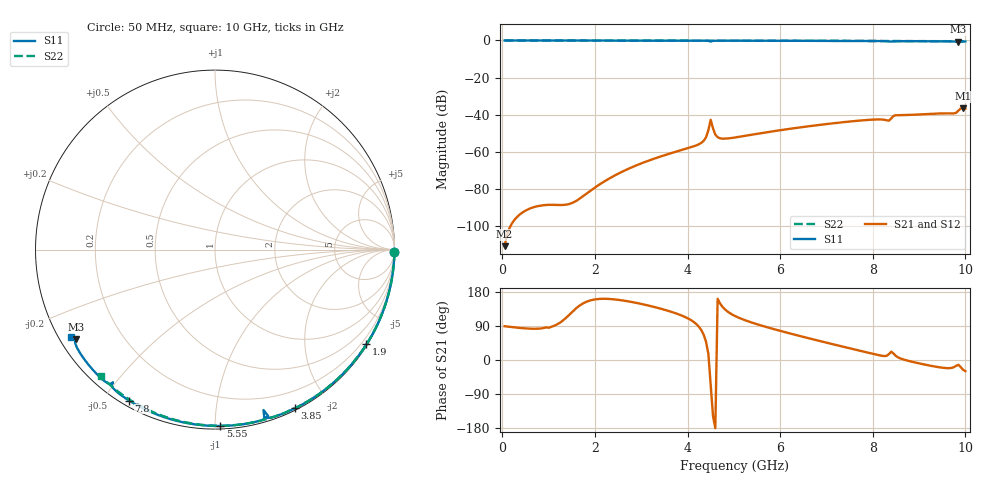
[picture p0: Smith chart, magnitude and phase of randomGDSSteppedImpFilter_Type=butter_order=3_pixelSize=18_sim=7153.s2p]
! freq	dB(S11)	phase(S11)	dB(S12)	phase(S12)
!  dB(S21)	phase(S21)	dB(S22)	phase(S22)
!S-par simulation data
#  GHz  S  DB  R 50
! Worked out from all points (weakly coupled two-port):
!   200 points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, 50 MHz to 10 GHz, reference 50 ohm
!   highest |S21| = -36.50 dB at 9.95 GHz (marker M1); lowest = -110.7 dB at 50 MHz (marker M2)
!   lowest |S11| = -0.7 dB at 9.85 GHz (marker M3), VSWR 24.73, Z = 2.2 - j14.7 ohm
!   |S11| at or under -10 dB: nowhere
!   |S22| runs from -0.5 to 0.0 dB; largest |S21 - S12| = 0
!   S11 on the Smith chart (normalised r, x): 50 MHz: open; 1.9 GHz: 0.03, -3.48; 3.85 GHz: 0.02, -1.62; 5.55 GHz: 0.02, -1.03; 7.8 GHz: 0.02, -0.58; 10 GHz: 0.03, -0.28
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0.05  -0.00 -0.9  -110.74 89.2  -110.74 89.2  -0.00 -0.8
1.75  -0.04 -29.6  -83.72 149.7  -83.72 149.7  -0.03 -26.3
1.9  -0.04 -32.0  -80.96 157.2  -80.96 157.2  -0.04 -28.5
2.65  -0.06 -44.3  -69.92 156.2  -69.92 156.2  -0.05 -39.4
3.4  -0.07 -56.2  -62.61 136.1  -62.61 136.1  -0.07 -50.1
3.85  -0.09 -63.3  -59.15 118.5  -59.15 118.5  -0.08 -56.3
4.35  -0.12 -71.3  -54.00 66.3  -54.00 66.3  -0.09 -63.1
4.4  -0.14 -72.3  -52.11 48.0  -52.11 48.0  -0.09 -63.8
4.45  -0.22 -73.6  -48.28 15.9  -48.28 15.9  -0.10 -64.5
4.5  -0.60 -73.2  -42.69 -64.0  -42.69 -64.0  -0.11 -65.2
4.6  -0.15 -73.6  -50.68 -179.9  -50.68 -179.9  -0.10 -66.5
4.65  -0.13 -74.6  -52.09 161.6  -52.09 161.6  -0.10 -67.1
5.05  -0.13 -80.9  -52.13 114.7  -52.13 114.7  -0.11 -72.4
5.55  -0.15 -88.3  -50.07 92.5  -50.07 92.5  -0.13 -78.9
6.7  -0.21 -104.5  -45.92 54.8  -45.92 54.8  -0.18 -93.4
7.8  -0.29 -119.7  -42.95 22.2  -42.95 22.2  -0.25 -106.6
8.35  -0.51 -127.7  -43.15 15.7  -43.15 15.7  -0.29 -113.0
8.5  -0.44 -128.0  -40.27 10.6  -40.27 10.6  -0.30 -114.8
9.75  -0.58 -146.4  -39.28 -19.1  -39.28 -19.1  -0.42 -129.1
9.85  -0.70 -147.3  -37.74 -12.6  -37.74 -12.6  -0.44 -130.3
9.95  -0.58 -147.9  -36.50 -26.0  -36.50 -26.0  -0.45 -131.4
10  -0.54 -148.9  -36.77 -29.4  -36.77 -29.4  -0.45 -131.9
